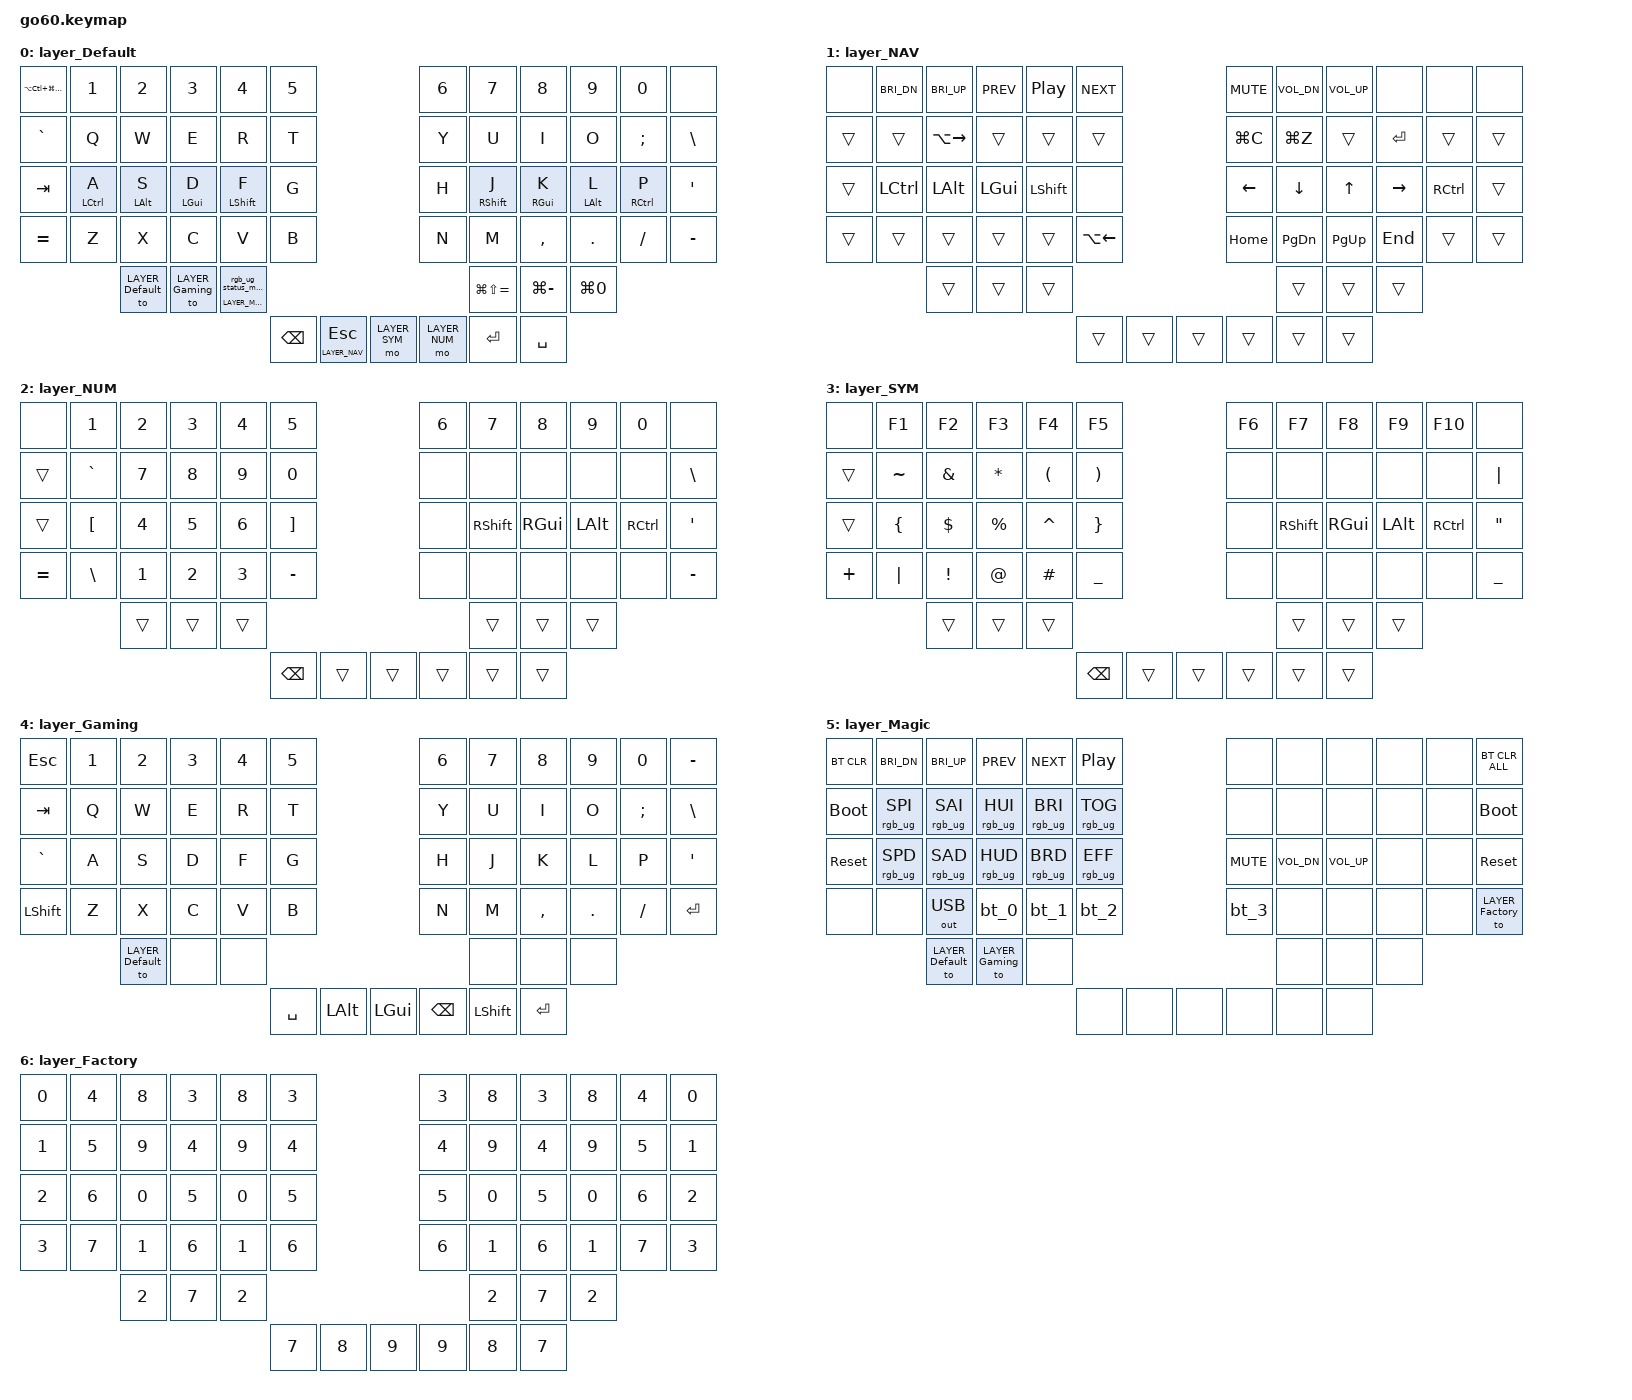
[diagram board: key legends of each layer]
/*
 * Copyright (c) 2020 The ZMK Contributors
 * Copyright (c) 2025 Innaworks Development Limited, trading as MoErgo
 *
 * SPDX-License-Identifier: MIT
 */


/* THIS FILE WAS GENERATED BY GO60 LAYOUT EDITOR
 *
 * This file was generated automatically. You may or may not want to
 * edit it directly.
 */

#include <behaviors.dtsi>

/* Include all behavior includes needed */

#include <dt-bindings/zmk/outputs.h>
#include <dt-bindings/zmk/keys.h>
#include <dt-bindings/zmk/bt.h>
#include <dt-bindings/zmk/rgb.h>

#include <input/processors.dtsi>
#include <dt-bindings/zmk/input_transform.h>
#include <zephyr/dt-bindings/input/input-event-codes.h>

/* On demand includes */
#include <dt-bindings/zmk/input_transform.h>
#include <dt-bindings/zmk/pointing.h>
#include <input/processors.dtsi>

/* Helper Macros, based on https://github.com/urob/zmk-helpers/ */

#pragma once

#define ZMK_HELPER_STRINGIFY(x) #x

// Preprocessor mechanism to overload macros, cf. https://stackoverflow.com/a/27051616/6114651
#define VARGS_(_10, _9, _8, _7, _6, _5, _4, _3, _2, _1, N, ...) N
#define VARGS(...) VARGS_(__VA_ARGS__, 10, 9, 8, 7, 6, 5, 4, 3, 2, 1, 0)
#define CONCAT_(a, b) a##b
#define CONCAT(a, b) CONCAT_(a, b)

#define ZMK_BEHAVIOR_CORE_tap_dance  \
    compatible = "zmk,behavior-tap-dance"; \
    #binding-cells = <0>

#define ZMK_BEHAVIOR(name, type, ...) \
    name: name { \
        ZMK_BEHAVIOR_CORE_ ## type; \
        __VA_ARGS__ \
    };

#define ZMK_TAP_DANCE(name, ...) \
    ZMK_BEHAVIOR(name, tap_dance, __VA_ARGS__)

#define ZMK_TD_LAYER(name, layer) \
    ZMK_TAP_DANCE(name, \
        tapping-term-ms = <200>; \
        bindings = <&mo layer>, <&to layer>; \
)





/* Key positions */

#define POS_LH_C6R1 0
#define POS_LH_C5R1 1
#define POS_LH_C4R1 2
#define POS_LH_C3R1 3
#define POS_LH_C2R1 4
#define POS_LH_C1R1 5
#define POS_RH_C1R1 6
#define POS_RH_C2R1 7
#define POS_RH_C3R1 8
#define POS_RH_C4R1 9
#define POS_RH_C5R1 10
#define POS_RH_C6R1 11
#define POS_LH_C6R2 12
#define POS_LH_C5R2 13
#define POS_LH_C4R2 14
#define POS_LH_C3R2 15
#define POS_LH_C2R2 16
#define POS_LH_C1R2 17
#define POS_RH_C1R2 18
#define POS_RH_C2R2 19
#define POS_RH_C3R2 20
#define POS_RH_C4R2 21
#define POS_RH_C5R2 22
#define POS_RH_C6R2 23
#define POS_LH_C6R3 24
#define POS_LH_C5R3 25
#define POS_LH_C4R3 26
#define POS_LH_C3R3 27
#define POS_LH_C2R3 28
#define POS_LH_C1R3 29
#define POS_RH_C1R3 30
#define POS_RH_C2R3 31
#define POS_RH_C3R3 32
#define POS_RH_C4R3 33
#define POS_RH_C5R3 34
#define POS_RH_C6R3 35
#define POS_LH_C6R4 36
#define POS_LH_C5R4 37
#define POS_LH_C4R4 38
#define POS_LH_C3R4 39
#define POS_LH_C2R4 40
#define POS_LH_C1R4 41
#define POS_RH_C1R4 42
#define POS_RH_C2R4 43
#define POS_RH_C3R4 44
#define POS_RH_C4R4 45
#define POS_RH_C5R4 46
#define POS_RH_C6R4 47
#define POS_LH_C4R5 48
#define POS_LH_C3R5 49
#define POS_LH_C2R5 50
#define POS_RH_C2R5 51
#define POS_RH_C3R5 52
#define POS_RH_C4R5 53
#define POS_LH_T1 54
#define POS_LH_T2 55
#define POS_LH_T3 56
#define POS_RH_T3 57
#define POS_RH_T2 58
#define POS_RH_T1 59


#define LEFT_HAND_KEYS \
  POS_LH_C1R1 POS_LH_C2R1 POS_LH_C3R1 POS_LH_C4R1 POS_LH_C5R1 POS_LH_C6R1 \
  POS_LH_C1R2 POS_LH_C2R2 POS_LH_C3R2 POS_LH_C4R2 POS_LH_C5R2 POS_LH_C6R2 \
  POS_LH_C1R3 POS_LH_C2R3 POS_LH_C3R3 POS_LH_C4R3 POS_LH_C5R3 POS_LH_C6R3 \
  POS_LH_C1R4 POS_LH_C2R4 POS_LH_C3R4 POS_LH_C4R4 POS_LH_C5R4 POS_LH_C6R4 \
              POS_LH_C2R5 POS_LH_C3R5 POS_LH_C4R5

#define RIGHT_HAND_KEYS \
  POS_RH_C1R1 POS_RH_C2R1 POS_RH_C3R1 POS_RH_C4R1 POS_RH_C5R1 POS_RH_C6R1 \
  POS_RH_C1R2 POS_RH_C2R2 POS_RH_C3R2 POS_RH_C4R2 POS_RH_C5R2 POS_RH_C6R2 \
  POS_RH_C1R3 POS_RH_C2R3 POS_RH_C3R3 POS_RH_C4R3 POS_RH_C5R3 POS_RH_C6R3 \
  POS_RH_C1R4 POS_RH_C2R4 POS_RH_C3R4 POS_RH_C4R4 POS_RH_C5R4 POS_RH_C6R4 \
              POS_RH_C2R5 POS_RH_C3R5 POS_RH_C4R5

#define THUMB_KEYS \
  POS_LH_T1 POS_LH_T2 POS_LH_T3 \
  POS_RH_T1 POS_RH_T2 POS_RH_T3

/* Environment and metadata defines */
#define KB_TYPE_GLOVE_80 1
#define KB_TYPE_GO_60    2

#define KB_TYPE          KB_TYPE_GO_60
#define EDITOR_HOST_OS   'M'

/* Layer defines */
#define LAYER_Default 0
#define LAYER_NAV 1
#define LAYER_NUM 2
#define LAYER_SYM 3
#define LAYER_Gaming 4
#define LAYER_Magic 5
#define LAYER_Factory 6


/* Generated input processors */
/ {
    input_processors {
        zip_click_to_right_click_mapper: zip_click_to_right_click_mapper {
            compatible = "zmk,input-processor-code-mapper";
            #input-processor-cells = <0>;
            type = <INPUT_EV_KEY>;
            map = <INPUT_BTN_0 INPUT_BTN_1>;
        };
    };
};

/* Custom Device-tree */


/* Input Listeners */
&cirque_lh_listener {
    input-processors = <&zip_xy_to_scroll_mapper>, <&zip_xy_scaler 1 64>, <&zip_click_to_right_click_mapper>;
};

&cirque_rh_listener {
    input-processors = <&zip_xy_scaler 3 1>;
};


/ {
    macros {
        rgb_ug_status_macro: rgb_ug_status_macro {
            label = "RGB_UG_STATUS";
            compatible = "zmk,behavior-macro";
            #binding-cells = <0>;
            bindings
                = <&rgb_ug RGB_STATUS>;
        };
    };
};

/ {
#ifdef BT_DISC_CMD
    behaviors {
        bt_0: bt_0 {
            compatible = "zmk,behavior-tap-dance";
            label = "BT_0";
            #binding-cells = <0>;
            tapping-term-ms = <200>;
            bindings = <&bt_select_0>, <&bt BT_DISC 0>;
        };
        bt_1: bt_1 {
            compatible = "zmk,behavior-tap-dance";
            label = "BT_1";
            #binding-cells = <0>;
            tapping-term-ms = <200>;
            bindings = <&bt_select_1>, <&bt BT_DISC 1>;
        };
        bt_2: bt_2 {
            compatible = "zmk,behavior-tap-dance";
            label = "BT_2";
            #binding-cells = <0>;
            tapping-term-ms = <200>;
            bindings = <&bt_select_2>, <&bt BT_DISC 2>;
        };
        bt_3: bt_3 {
            compatible = "zmk,behavior-tap-dance";
            label = "BT_3";
            #binding-cells = <0>;
            tapping-term-ms = <200>;
            bindings = <&bt_select_3>, <&bt BT_DISC 3>;
        };
    };
    macros {
        bt_select_0: bt_select_0 {
            label = "BT_SELECT_0";
            compatible = "zmk,behavior-macro";
            #binding-cells = <0>;
            bindings
                = <&out OUT_BLE>,
                  <&bt BT_SEL 0>;
        };
        bt_select_1: bt_select_1 {
            label = "BT_SELECT_1";
            compatible = "zmk,behavior-macro";
            #binding-cells = <0>;
            bindings
                = <&out OUT_BLE>,
                  <&bt BT_SEL 1>;
        };
        bt_select_2: bt_select_2 {
            label = "BT_SELECT_2";
            compatible = "zmk,behavior-macro";
            #binding-cells = <0>;
            bindings
                = <&out OUT_BLE>,
                  <&bt BT_SEL 2>;
        };
        bt_select_3: bt_select_3 {
            label = "BT_SELECT_3";
            compatible = "zmk,behavior-macro";
            #binding-cells = <0>;
            bindings
                = <&out OUT_BLE>,
                  <&bt BT_SEL 3>;
        };
    };
#else
    macros {
        bt_0: bt_0 {
            label = "BT_0";
            compatible = "zmk,behavior-macro";
            #binding-cells = <0>;
            bindings
                = <&out OUT_BLE>,
                  <&bt BT_SEL 0>;
        };
        bt_1: bt_1 {
            label = "BT_1";
            compatible = "zmk,behavior-macro";
            #binding-cells = <0>;
            bindings
                = <&out OUT_BLE>,
                  <&bt BT_SEL 1>;
        };
        bt_2: bt_2 {
            label = "BT_2";
            compatible = "zmk,behavior-macro";
            #binding-cells = <0>;
            bindings
                = <&out OUT_BLE>,
                  <&bt BT_SEL 2>;
        };
        bt_3: bt_3 {
            label = "BT_3";
            compatible = "zmk,behavior-macro";
            #binding-cells = <0>;
            bindings
                = <&out OUT_BLE>,
                  <&bt BT_SEL 3>;
        };
    };
#endif
};

/ {
    behaviors {
        magic: magic {
            compatible = "zmk,behavior-hold-tap";
            label = "MAGIC_HOLD_TAP";
            #binding-cells = <2>;
            flavor = "tap-preferred";
            tapping-term-ms = <200>;
            bindings = <&mo>, <&rgb_ug_status_macro>;
        };
    };
};


/* Automatically generated behavior definitions */
/ {
    behaviors {

        hm_l: hm_l {
            compatible = "zmk,behavior-hold-tap";
            #binding-cells = <2>;
            flavor = "balanced";
            tapping-term-ms = <280>;
            quick-tap-ms = <175>;
            require-prior-idle-ms = <150>;
            bindings = <&kp>, <&kp>;
            hold-trigger-key-positions = <RIGHT_HAND_KEYS THUMB_KEYS>;
            hold-trigger-on-release;
        };

        hm_r: hm_r {
            compatible = "zmk,behavior-hold-tap";
            #binding-cells = <2>;
            flavor = "balanced";
            tapping-term-ms = <280>;
            quick-tap-ms = <175>;
            require-prior-idle-ms = <150>;
            bindings = <&kp>, <&kp>;
            hold-trigger-key-positions = <LEFT_HAND_KEYS THUMB_KEYS>;
            hold-trigger-on-release;
        };

        // space_layer_access - TailorKey
        space_v3_TKZ: space_v3_TKZ {
            compatible = "zmk,behavior-hold-tap";
            #binding-cells = <2>;
            tapping-term-ms = <200>;
            bindings = <&mo>, <&kp>;
            flavor = "balanced";
            quick-tap-ms = <150>;
        };

        // thumb_layer_access - TailorKey
        thumb_v2_TKZ: thumb_v2_TKZ {
            compatible = "zmk,behavior-hold-tap";
            #binding-cells = <2>;
            tapping-term-ms = <200>;
            bindings = <&mo>, <&kp>;
            flavor = "balanced";
            quick-tap-ms = <300>;
        };
    };
};

/* Combos removed */

/* Keymap */
/ {
    keymap {
        compatible = "zmk,keymap";

        layer_Default {
            bindings = <
        &kp LA(LC(LG(LS(EQUAL))))       &kp N1        &kp N2      &kp N3    &kp N4      &kp N5                                                                                                                  &kp N6       &kp N7        &kp N8      &kp N9     &kp N0      &none
    &kp GRAVE         &kp Q         &kp W       &kp E     &kp R       &kp T                                                                                                                  &kp Y          &kp U         &kp I      &kp O   &kp SEMI   &kp BSLH
     &kp TAB  &hm_l LCTRL A  &hm_l LALT S  &hm_l LGUI D  &hm_l LSHFT F  &kp G                                                                                                              &kp H   &hm_r RSHFT J  &hm_r RGUI K  &hm_r LALT L  &hm_r RCTRL P    &kp SQT
    &kp EQUAL         &kp Z         &kp X       &kp C     &kp V       &kp B                                                                                                                  &kp N          &kp M     &kp COMMA    &kp DOT   &kp FSLH  &kp MINUS
                            &to LAYER_Default  &to LAYER_Gaming  &magic LAYER_Magic 0                                                                                                                       &kp LG(LS(EQUAL))  &kp LG(MINUS)  &kp LG(N0)
                                                                                       &kp BSPC  &thumb_v2_TKZ LAYER_NAV ESC  &mo LAYER_SYM      &mo LAYER_NUM  &kp RET  &kp SPACE
            >;
        };

        layer_NAV {
            bindings = <
 &none   &kp C_BRI_DN    &kp C_BRI_UP  &kp C_PREV  &kp C_PP    &kp C_NEXT                                              &kp C_MUTE  &kp C_VOL_DN  &kp C_VOL_UP  &none  &none  &none
 &trans  &trans  &kp LA(RIGHT)     &trans      &trans          &trans                                                  &kp LG(C)  &kp LG(Z)  &trans     &kp RET    &trans  &trans
 &trans  &kp LCTRL    &kp LALT  &kp LGUI  &kp LSHFT           &none                                                  &kp LEFT   &kp DOWN   &kp UP     &kp RIGHT  &kp RCTRL  &trans
 &trans  &trans          &trans     &trans      &trans  &kp LA(LEFT)                                                  &kp HOME   &kp PG_DN  &kp PG_UP  &kp END    &trans  &trans
                         &trans     &trans      &trans                                                                            &trans     &trans     &trans
                                                              &trans  &trans  &trans      &trans  &trans  &trans
            >;
        };

        layer_NUM {
            bindings = <
    &none    &kp N1     &kp N2  &kp N3     &kp N4     &kp N5                                                     &kp N6  &kp N7  &kp N8  &kp N9  &kp N0     &none
 &trans  &kp GRAVE   &kp N7  &kp N8     &kp N9     &kp N0                                                      &none   &none   &none   &none   &none  &kp BSLH
 &trans   &kp LBKT   &kp N4  &kp N5     &kp N6   &kp RBKT                                                      &none  &kp RSHFT  &kp RGUI  &kp LALT  &kp RCTRL  &kp SQT
    &kp EQUAL   &kp BSLH   &kp N1  &kp N2     &kp N3  &kp MINUS                                                      &none   &none   &none   &none   &none  &kp MINUS
                         &trans  &trans     &trans                                                                          &trans  &trans  &trans
                                                             &kp BSPC  &trans  &trans       &trans  &trans  &trans
            >;
        };

        layer_SYM {
            bindings = <
    &none        &kp F1        &kp F2       &kp F3        &kp F4        &kp F5                                                     &kp F6     &kp F7     &kp F8     &kp F9    &kp F10     &none
 &trans   &kp TILDE   &kp AMPS  &kp ASTRK    &kp LPAR    &kp RPAR                                                   &none   &none   &none   &none    &none  &kp PIPE
 &trans   &kp LBRC   &kp DLLR  &kp PRCNT   &kp CARET    &kp RBRC                                                   &none  &kp RSHFT  &kp RGUI  &kp LALT  &kp RCTRL  &kp DQT
    &kp PLUS    &kp PIPE   &kp EXCL     &kp AT    &kp HASH   &kp UNDER                                                   &none   &none   &none   &none    &none  &kp UNDER
                          &trans      &trans      &trans                                                                         &trans  &trans  &trans
                                                             &kp BSPC  &trans  &trans       &trans  &trans  &trans
            >;
        };

        layer_Gaming {
            bindings = <
  &kp ESC  &kp N1  &kp N2  &kp N3  &kp N4  &kp N5                                                  &kp N6  &kp N7     &kp N8     &kp N9    &kp N0  &kp MINUS
  &kp TAB   &kp Q   &kp W   &kp E   &kp R   &kp T                                                   &kp Y   &kp U      &kp I      &kp O     &kp SEMI   &kp BSLH
 &kp GRAVE  &kp A   &kp S   &kp D   &kp F   &kp G                                                   &kp H   &kp J      &kp K      &kp L  &kp P    &kp SQT
 &kp LSHFT  &kp Z   &kp X   &kp C   &kp V   &kp B                                                   &kp N   &kp M  &kp COMMA    &kp DOT  &kp FSLH    &kp RET
             &to LAYER_Default  &none  &none                                                                  &none      &none      &none
                                                    &kp SPACE  &kp LALT  &kp LGUI      &kp BSPC  &kp LSHFT  &kp RET
            >;
        };

        layer_Magic {
            bindings = <
  &bt BT_CLR  &kp C_BRI_DN  &kp C_BRI_UP  &kp C_PREV   &kp C_NEXT       &kp C_PP                                                   &none         &none  &none &none  &none  &bt BT_CLR_ALL
 &bootloader  &rgb_ug RGB_SPI  &rgb_ug RGB_SAI  &rgb_ug RGB_HUI  &rgb_ug RGB_BRI  &rgb_ug RGB_TOG                                        &none         &none         &none  &none  &none     &bootloader
  &sys_reset  &rgb_ug RGB_SPD  &rgb_ug RGB_SAD  &rgb_ug RGB_HUD  &rgb_ug RGB_BRD  &rgb_ug RGB_EFF                                        &kp C_MUTE  &kp C_VOL_DN  &kp C_VOL_UP  &none         &none      &sys_reset
       &none        &none  &out OUT_USB      &bt_0        &bt_1        &bt_2                                                       &bt_3         &none         &none  &none  &none  &to LAYER_Factory
                             &to LAYER_Default  &to LAYER_Gaming  &none                                                                            &none         &none  &none
                                                                                          &none  &none  &none      &none  &none  &none
            >;
        };

        layer_Factory {
            bindings = <
 &kp N0  &kp N4  &kp N8  &kp N3  &kp N8  &kp N3                                                  &kp N3  &kp N8  &kp N3  &kp N8  &kp N4  &kp N0
 &kp N1  &kp N5  &kp N9  &kp N4  &kp N9  &kp N4                                                  &kp N4  &kp N9  &kp N4  &kp N9  &kp N5  &kp N1
 &kp N2  &kp N6  &kp N0  &kp N5  &kp N0  &kp N5                                                  &kp N5  &kp N0  &kp N5  &kp N0  &kp N6  &kp N2
 &kp N3  &kp N7  &kp N1  &kp N6  &kp N1  &kp N6                                                  &kp N6  &kp N1  &kp N6  &kp N1  &kp N7  &kp N3
                  &kp N2  &kp N7  &kp N2                                                                  &kp N2  &kp N7  &kp N2
                                                  &kp N7  &kp N8  &kp N9      &kp N9  &kp N8  &kp N7
            >;
        };

    };
};
